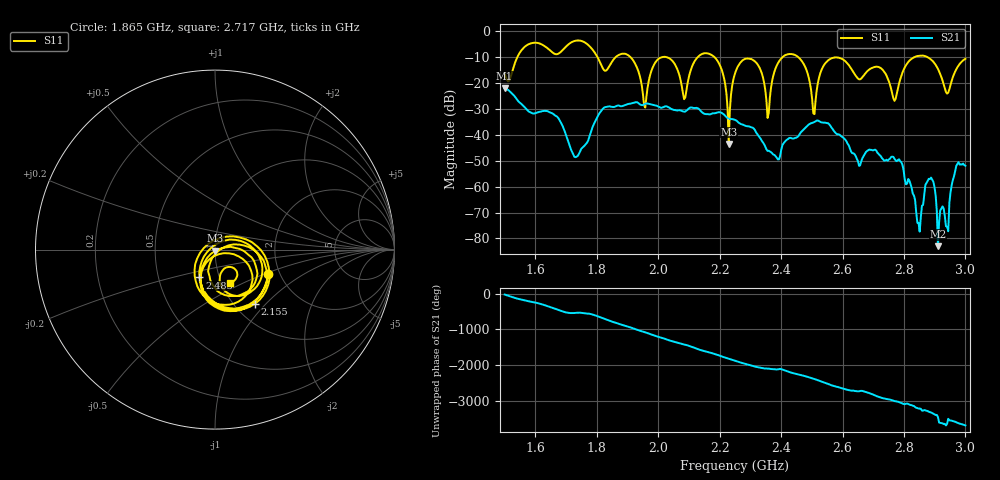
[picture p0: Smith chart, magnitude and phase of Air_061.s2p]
# HZ S RI R 50
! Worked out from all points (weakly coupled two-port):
!   404 points, 1.5 GHz to 3 GHz, reference 50 ohm
!   highest |S21| = -22.11 dB at 1.5 GHz (marker M1); lowest = -83.0 dB at 2.911 GHz (marker M2)
!   lowest |S11| = -43.6 dB at 2.23 GHz (marker M3), VSWR 1.01, Z = 50.3 - j0.611 ohm
!   |S11| at or under -10 dB: 2.183 GHz to 2.405 GHz (222.6 MHz wide, 9.7 % of centre); 2.455 GHz to 2.835 GHz (380 MHz wide, 14.4 % of centre); 2.875 GHz to end of sweep (the widest 3 of 7)
!   S12 and S22 are empty: the file has one direction only
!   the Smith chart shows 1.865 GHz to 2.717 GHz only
!   S11 on the Smith chart (normalised r, x): 1.865 GHz: 1.73, -0.54; 2.155 GHz: 1.24, -0.87; 2.483 GHz: 0.80, -0.26; 2.717 GHz: 1.09, -0.42
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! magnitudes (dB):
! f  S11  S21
! 1.5 GHz  -16.3  -22.1
! 1.753 GHz  -3.9  -45.0
! 1.865 GHz  -9.7  -28.9
! 1.958 GHz  -29.5  -28.0
! 2.002 GHz  -10.6  -29.3
! 2.084 GHz  -26.3  -31.1
! 2.155 GHz  -8.5  -32.0
! 2.23 GHz  -43.6  -33.8
! 2.252 GHz  -15.7  -34.3
! 2.315 GHz  -11.7  -38.2
! 2.356 GHz  -33.5  -46.2
! 2.39 GHz  -12.4  -49.5
! 2.483 GHz  -15.0  -36.9
! 2.501 GHz  -26.4  -35.4
! 2.561 GHz  -10.7  -36.6
! 2.717 GHz  -13.8  -47.4
! 2.751 GHz  -19.3  -49.5
! 2.847 GHz  -9.6  -74.0
! 2.888 GHz  -11.0  -56.5
! 2.911 GHz  -14.6  -83.0
! 2.94 GHz  -24.1  -75.5
! 3 GHz  -10.7  -52.0
